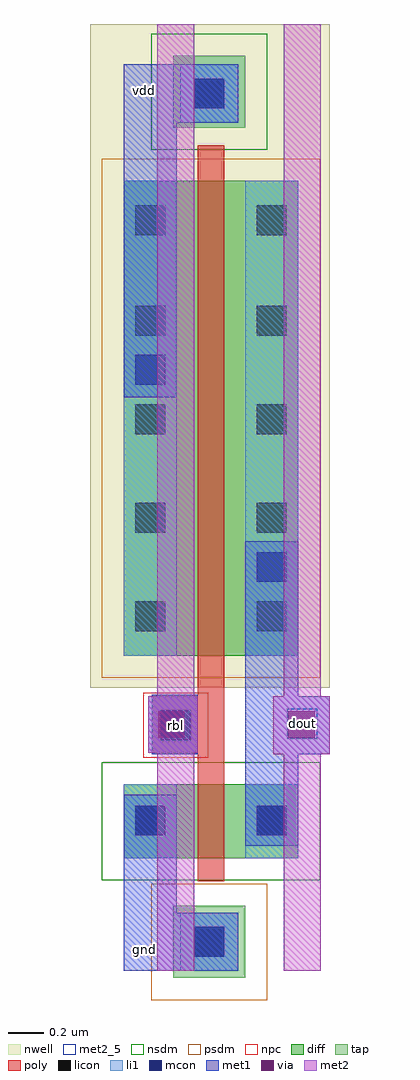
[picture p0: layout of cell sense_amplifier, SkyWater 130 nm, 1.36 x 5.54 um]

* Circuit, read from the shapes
.subckt sense_amplifier dout gnd rbl vdd
XM1 dout rbl gnd gnd sky130_fd_pr__nfet_01v8 w=0.42 l=0.15
XM2 dout rbl vdd vdd sky130_fd_pr__pfet_01v8 w=2.7 l=0.15
.ends

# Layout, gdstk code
import gdstk
lib = gdstk.Library(unit=1e-6, precision=1e-09)
def R(c, l, rs):  # rectangles x0, y0, x1, y1
    for r in rs: c.add(gdstk.rectangle(r[:2], r[2:], *l))
def A(c, l, x, y, w, h, nx, ny, dx, dy):  # array of equal rectangles
    R(c, l, [(x+i*dx, y+j*dy, x+i*dx+w, y+j*dy+h) for i in range(nx) for j in range(ny)])
nwell = (64, 20)
diff = (65, 20)
tap = (65, 44)
poly = (66, 20)
licon = (66, 44)
li1 = (67, 20)
mcon = (67, 44)
met1 = (68, 20)
via = (68, 44)
met2_5 = (69, 5)
met2 = (69, 20)
nsdm = (93, 44)
psdm = (94, 20)
npc = (95, 20)

sense_amplifier = lib.new_cell('sense_amplifier')
R(sense_amplifier, nwell, [(-2.95,-1.13,-1.59,2.64)])
R(sense_amplifier, diff, [(-2.76,-2.1,-1.77,-1.68), (-2.76,-0.95,-1.77,1.75)])
R(sense_amplifier, tap, [(-2.48,-2.78,-2.07,-2.37), (-2.48,2.05,-2.07,2.46)])
R(sense_amplifier, poly, [(-2.34,-2.23,-2.19,-1.51), (-2.6,-1.51,-2.19,-1.17), (-2.34,-1.17,-2.19,1.95)])
A(sense_amplifier, licon, -2.695, -0.81, 0.17, 0.17, 1, 4, 0, 0.56)
A(sense_amplifier, licon, -2.005, -0.81, 0.17, 0.17, 1, 4, 0, 0.56)
R(sense_amplifier, licon, [(-2.36,-2.66,-2.19,-2.49), (-2.695,-1.97,-2.525,-1.8), (-2.005,-1.97,-1.835,-1.8), (-2.55,-1.43,-2.38,-1.26), (-2.695,1.44,-2.525,1.61), (-2.005,1.44,-1.835,1.61), (-2.36,2.16,-2.19,2.33)])
R(sense_amplifier, li1, [(-2.44,-2.74,-2.11,-2.41), (-2.76,-2.1,-2.46,-1.68), (-2.07,-2.1,-1.77,-1.68), (-2.6,-1.51,-2.34,-1.17), (-2.76,-0.95,-2.46,1.75), (-2.07,-0.95,-1.77,1.75), (-2.44,2.08,-2.11,2.41)])
R(sense_amplifier, mcon, [(-2.36,-2.66,-2.19,-2.49), (-2.695,-1.97,-2.525,-1.8), (-2.005,-1.97,-1.835,-1.8), (-2.55,-1.43,-2.38,-1.26), (-2.005,-0.53,-1.835,-0.36), (-2.695,0.59,-2.525,0.76), (-2.36,2.16,-2.19,2.33)])
R(sense_amplifier, met1, [(-2.76,-2.74,-2.11,-2.41), (-2.76,-2.41,-2.46,-1.74), (-2.07,-2.03,-1.77,-1.51), (-2.6,-1.51,-2.34,-1.5), (-2.07,-1.51,-1.59,-1.18), (-2.62,-1.5,-2.34,-1.18), (-2.6,-1.18,-2.34,-1.17), (-2.07,-1.18,-1.77,-0.3), (-2.76,0.52,-2.46,2.08), (-2.76,2.08,-2.11,2.41)])
R(sense_amplifier, via, [(-2.565,-1.415,-2.415,-1.265), (-1.825,-1.415,-1.675,-1.265)])
R(sense_amplifier, met2_5, [(-2.55,-1.43,-2.38,-1.26), (-1.83,-1.42,-1.66,-1.25)])
R(sense_amplifier, met2, [(-2.57,-2.74,-2.36,-1.5), (-1.85,-2.74,-1.64,-1.51), (-1.91,-1.51,-1.59,-1.18), (-2.62,-1.5,-2.34,-1.18), (-2.57,-1.18,-2.36,2.64), (-1.85,-1.18,-1.64,2.64)])
R(sense_amplifier, nsdm, [(-2.885,-2.225,-1.645,-1.555), (-2.605,1.925,-1.945,2.585)])
R(sense_amplifier, psdm, [(-2.605,-2.905,-1.945,-2.245), (-2.885,-1.075,-1.645,1.875)])
R(sense_amplifier, npc, [(-2.65,-1.53,-2.28,-1.16)])
sense_amplifier.add(gdstk.Label('gnd', (-2.64,-2.62), layer=68, texttype=16))
sense_amplifier.add(gdstk.Label('vdd', (-2.64,2.26), layer=68, texttype=16))
sense_amplifier.add(gdstk.Label('rbl', (-2.465,-1.345), layer=69, texttype=5))
sense_amplifier.add(gdstk.Label('dout', (-1.745,-1.335), layer=69, texttype=5))

lib.write_gds('sense_amplifier.gds')
